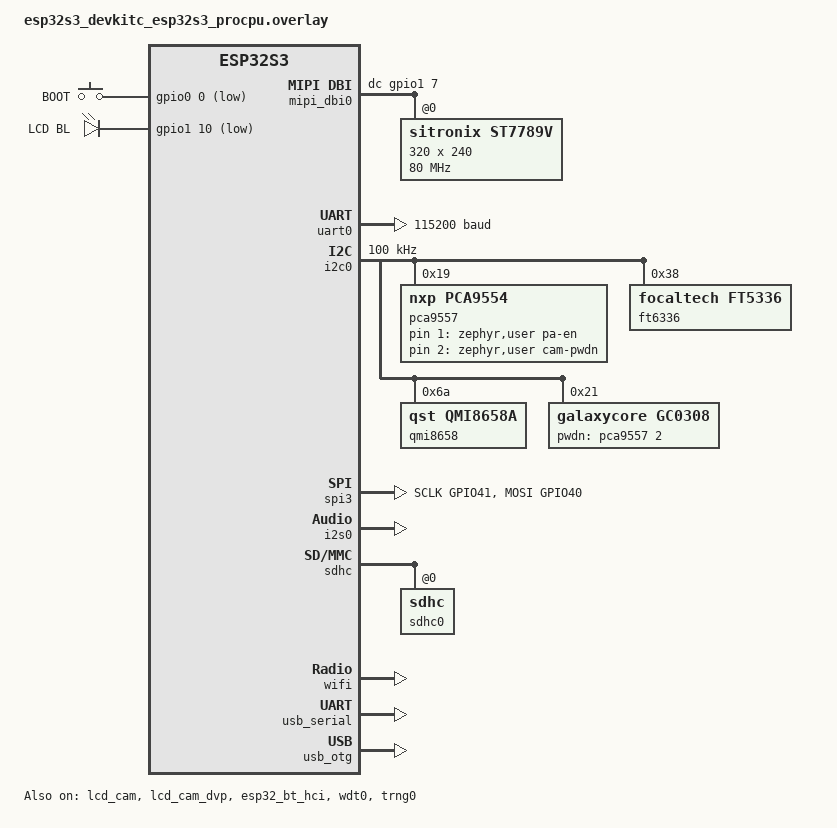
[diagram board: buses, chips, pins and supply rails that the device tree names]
/*
 * 立创·实战派 ESP32-S3 V1.0.1
 * 引脚来源：doc/Netlist_ESP32-S3-V1_0_1_2026-07-22.tel / doc/pinout.md
 *
 * 基座板：esp32s3_devkitc/esp32s3/procpu（overlay 覆盖引脚与外设）
 */

#include <zephyr/dt-bindings/pinctrl/esp32s3-pinctrl.h>
#include <zephyr/dt-bindings/gpio/gpio.h>
#include <zephyr/dt-bindings/pwm/pwm.h>
#include <zephyr/dt-bindings/input/input-event-codes.h>
#include <zephyr/dt-bindings/display/panel.h>
#include <zephyr/dt-bindings/mipi_dbi/mipi_dbi.h>
#include <zephyr/dt-bindings/i2c/i2c.h>

/ {
	chosen {
		zephyr,console = &uart0;
		zephyr,shell-uart = &uart0;
		zephyr,display = &st7789v;
		zephyr,touch = &ft6336;
		zephyr,camera = &lcd_cam_dvp;
		zephyr,sdhc = &sdhc0;
		/* Roles the port binds by NAME, not by node label. The port
		 * used to reach for DT_NODELABEL(qmi8658) / (i2c0) / (i2s0),
		 * which turns the label into a hard interface between the
		 * board and the C: a board whose six-axis part is not a
		 * QMI8658, or whose codec hangs off i2c1, cannot reuse the
		 * port at all -- and the mismatch arrives as an undefined
		 * macro rather than as "this board declared no IMU".
		 *
		 * Declaring the role here is the one line a new board writes.
		 * These three are ASTER's own roles, so they carry our vendor
		 * prefix; `imu0` in aliases below was already there and is
		 * left alone, but binding through it would have made the IMU
		 * work one way and the audio buses another. */
		aster,imu = &qmi8658;
		aster,audio-i2c = &i2c0;
		aster,audio-i2s = &i2s0;
	};

	aliases {
		/delete-property/ sw0;
		sw0 = &btn_boot;
		imu0 = &qmi8658;
		sdhc0 = &sdhc0;
		i2c-0 = &i2c0;
		watchdog0 = &wdt0;
		lcd-bl = &lcd_bl_gpio;
	};

	buttons {
		/delete-node/ button_0;

		btn_boot: button_boot {
			gpios = <&gpio0 0 (GPIO_PULL_UP | GPIO_ACTIVE_LOW)>;
			label = "BOOT";
			zephyr,code = <INPUT_KEY_0>;
		};
	};

	/* LCD 背光 GPIO42：低电平点亮（立创实战派原理图） */
	leds {
		compatible = "gpio-leds";

		lcd_bl_gpio: lcd_bl_gpio {
			gpios = <&gpio1 10 GPIO_ACTIVE_LOW>;
			label = "LCD BL";
		};
	};

	/*
	 * ST7789：SPI3 MOSI=40 SCLK=41，DC=GPIO39，CS=PCA9557.0
	 * RST 与系统 RESET 共用；背光低有效。
	 */
	mipi_dbi0: mipi_dbi {
		compatible = "zephyr,mipi-dbi-spi";
		dc-gpios = <&gpio1 7 GPIO_ACTIVE_HIGH>;
		spi-dev = <&spi3>;
		write-only;
		#address-cells = <1>;
		#size-cells = <0>;

		st7789v: st7789v@0 {
			compatible = "sitronix,st7789v";
			reg = <0>;
			/* ESP32-S3 SPI 主机上限 80 MHz，已顶满，再高只能换并行/QSPI */
			mipi-max-frequency = <DT_FREQ_M(80)>;
			mipi-mode = "MIPI_DBI_MODE_SPI_4WIRE";
			/* Official 06-lcd uses spi_mode = 2 (CPOL=1, CPHA=0). */
			mipi-cpol;
			/* CS rides on the PCA9557 I2C expander (100 kHz):
			 * historically every edge cost an I2C round-trip
			 * (~3.6 ms of CS churn per window). FIXED
			 * 2026-09-08: CS is parked low after reset and
			 * detached from the SPI driver, so window switches
			 * no longer touch it (verified 2026-09-10 by the
			 * ASTER_DISP_TIMING split: write side matches pure
			 * 80 MHz line rate + per-4092B GDMA restart).
			 *
			 * DO NOT add mipi-hold-cs here. Tried on HW
			 * 2026-09-08: SPI_HOLD_ON_CS itself is fine
			 * (17.5 -> 20.3 fps) but this panel's init
			 * sequence needs CS edges to latch SLPOUT/DISPON,
			 * so the glass stays dark while every SPI write
			 * still reports success.
			 *
			 * Official CS recipe (CONFIG_ST7789V_CS_ASSERT_
			 * AFTER_RESET): SW reset still uses CS edges,
			 * then CS is parked low and detached so SPI
			 * never toggles it again (IDF GPIO_NUM_NC).
			 * CONFIG_ST7789V_HOLD_CS_AFTER_INIT remains as
			 * a backup if park-after-reset is off. The
			 * gpio_pca_series also skips unchanged output
			 * writes.
			 *
			 * write_at still batches swapped pixels into
			 * multi-row bands (CONFIG_ASTER_DISP_BOUNCE_KB)
			 * and LVGL only ships dirty regions. */
			/* LANDSCAPE. The ST7789V GRAM is 240RGBx320 (see the
			 * binding); MV (0x20) is what transposes it into a
			 * 320x240 window, and the controller then addresses
			 * that window directly. So the port keeps
			 * CONFIG_ASTER_DISPLAY_ROTATION=0 and retains every fast
			 * path a software rotation would forfeit (band
			 * direct-send, async flip, panel canvas, pipelining).
			 * This window is the half that makes MV legal: a
			 * portrait 240x320 window with MV still set is a
			 * guaranteed RASET overflow, which is why the 0x60/0xA0
			 * runs in verification.md row 24 proved only that MV
			 * was still set -- not that those values are wrong. */
			width = <320>;
			height = <240>;
			x-offset = <0>;
			y-offset = <0>;
			vcom = <0x19>;
			gctrl = <0x35>;
			vrhs = <0x12>;
			vdvs = <0x20>;
			/* MADCTL. With a 320x240 window the landscape choices
			 * are the MV bit ORed with a mirror: 0x20 (MV), 0x60
			 * (MX|MV), 0xA0 (MY|MV), 0xE0 (MX|MY|MV). Two of those
			 * are the true 90/270 rotations, the other two are
			 * their mirror images; which is which is a mounting
			 * fact, so it is settled on glass, not in prose. OR in
			 * 0x08 if red and blue trade places. Verify with
			 * `hw display colorbar` + `hw display fill 0xF800`. */
			mdac = <0x60>;
			/* The panel's OTHER window, which makes this a
			 * runtime choice instead of a second firmware image:
			 * 0x00 is the native 240x320 one (MV=0, no mirror).
			 * The driver derives its 240x320 geometry from the
			 * width/height above -- MV only transposes, so there
			 * is nothing here to keep in sync -- and asserts both
			 * windows at build time. `hw display orient portrait`
			 * switches; the touch map follows the window by
			 * itself (display.c s_touch_maps is indexed by it).
			 *
			 * The pair is not symmetric in cost: landscape is the
			 * one the launcher and the UI presets are laid out
			 * for, and it is what the panel comes up in. This
			 * property is what makes portrait reachable without
			 * a rebuild, not a claim that the two are equivalent. */
			mdac-alt = <0x00>;
			gamma = <0x01>;
			/* v4.4.2 binding 变化：pixel-format 属性删除，
			 * 像素格式改由 Kconfig choice 决定（默认
			 * ST7789V_RGB565）；COLMOD 寄存器值改从 DT 读
			 * （required）。0x55 = RGB_65K|FMT_16bit，与旧
			 * 驱动按 RGB_565 算出的值逐位相同；上游
			 * esp32s3_eye 同值。 */
			colmod = <0x55>;
			lcm = <0x2c>;
			porch-param = [0c 0c 00 33 33];
			cmd2en-param = [5a 69 02 01];
			pwctrl1-param = [a4 a1];
			pvgam-param = [d0 04 0d 11 13 2b 3f 54 4c 18 0d 0b 1f 23];
			nvgam-param = [d0 04 0c 11 13 2c 3f 44 51 2f 1f 1f 20 23];
			ram-param = [00 f0];
			rgb-param = [cd 08 14];
		};
	};

	lvgl_pointer {
		compatible = "zephyr,lvgl-pointer-input";
		input = <&ft6336>;
	};

	zephyr,user {
		/* PCA9557 控制脚：**按名字取，不按下标**。
		 *
		 * 这里原本是一个三元素 io-gpios 数组，C 侧用下标 1 和 2 去取
		 * PA_EN / DVP_PWDN（下标 0 是 LCD_CS，声明了但没有任何代码读
		 * 它）。下标是位置约定 —— 板子换一下书写顺序，音频就会去拉
		 * 摄像头的掉电脚：没有编译错误、没有日志，只是两件事同时坏，
		 * 而查的时候两边看起来都"没错"。具名之后这个错误写不出来。
		 *
		 * C 侧用 GPIO_DT_SPEC_GET_OR(..., {0}) 取：引脚缺失是「这块板
		 * 没接」这一合法情形，交给既有的 gpio_is_ready_dt() 判空就够
		 * 了。具名要解决的是「取错脚」，不是「没接脚」，别把后者也变
		 * 成编译错误。 */
		pa-en-gpios = <&pca9557 1 GPIO_ACTIVE_HIGH>;
		cam-pwdn-gpios = <&pca9557 2 GPIO_ACTIVE_HIGH>;
	};
};

/* N16R8：16MB Flash + 8MB Octal PSRAM
 * reg 已给出 flash0 的大小；flash0 是 soc-nv-flash 叶子节点、无子节点，
 * 不需要 ranges（v4.4.2 起 flash@0 的 #address-cells=2，旧的 3-cell ranges
 * 会触发 dtc "not evenly divisible" 报错）。
 */
&flash0 {
	reg = <0x0 DT_SIZE_M(16)>;
};

&psram0 {
	size = <DT_SIZE_M(8)>;
};

&uart0 {
	status = "okay";
	current-speed = <115200>;
};

&gpio0 {
	status = "okay";
};

&gpio1 {
	status = "okay";
};

&pinctrl {
	i2c0_default: i2c0_default {
		group1 {
			pinmux = <I2C0_SDA_GPIO1>,
				 <I2C0_SCL_GPIO2>;
			bias-pull-up;
			drive-open-drain;
			output-high;
		};
	};

	/* LCD SPI3：仅 MOSI + SCLK（无 MISO），与立创例程一致 */
	spim3_lcd_default: spim3_lcd_default {
		group1 {
			pinmux = <SPIM3_SCLK_GPIO41>;
		};

		group2 {
			pinmux = <SPIM3_MOSI_GPIO40>;
			output-low;
		};
	};

	/* TF：SDMMC 1-bit — CLK=47 CMD=48 DAT0=21 */
	sdhc0_default: sdhc0_default {
		group1 {
			pinmux = <SDHC0_CLKOUT_GPIO47>,
				 <SDHC0_CMD_GPIO48>,
				 <SDHC0_DATA0_GPIO21>;
			bias-pull-up;
			output-high;
		};
	};

	/*
	 * GC0308 DVP（立创实战派）：
	 * XCLK=5 PCLK=7 VSYNC=3 HREF=46
	 * D0..D7 = 16,18,8,17,15,6,4,9
	 */
	lcd_cam_default: lcd_cam_default {
		group1 {
			pinmux = <LCD_CAM_CAM_CLK_GPIO5>;
			output-enable;
		};

		group2 {
			pinmux = <LCD_CAM_V_SYNC_CAM_GPIO3>,
				 <LCD_CAM_H_ENABLE_CAM_GPIO46>,
				 <LCD_CAM_CAM_PCLK_GPIO7>,
				 <LCD_CAM_DATA_IN0_GPIO16>,
				 <LCD_CAM_DATA_IN1_GPIO18>,
				 <LCD_CAM_DATA_IN2_GPIO8>,
				 <LCD_CAM_DATA_IN3_GPIO17>,
				 <LCD_CAM_DATA_IN4_GPIO15>,
				 <LCD_CAM_DATA_IN5_GPIO6>,
				 <LCD_CAM_DATA_IN6_GPIO4>,
				 <LCD_CAM_DATA_IN7_GPIO9>;
			input-enable;
			bias-disable;
		};
	};

	/*
	 * ES8311 (DAC) + ES7210 (ADC) 共用 I2S0（立创实战派）：
	 * MCLK=38 BCLK=14 WS=13 DOUT=45 DIN=12
	 *
	 * BCLK/WS 必须走 I2S0_O_*（TX 时钟）。录音时平台层会同时跑 TX
	 * 静音块，否则 RX-only 不驱动这些脚，ADC 采到全零。
	 */
	i2s0_default: i2s0_default {
		group1 {
			pinmux = <I2S0_MCLK_GPIO38>,
				 <I2S0_O_BCK_GPIO14>,
				 <I2S0_O_WS_GPIO13>,
				 <I2S0_O_SD_GPIO45>;
			output-enable;
		};

		group2 {
			pinmux = <I2S0_I_SD_GPIO12>;
			input-enable;
		};
	};
};

&i2c0 {
	status = "okay";
	/* 100 kHz：GC0308 SCCB 在 400 kHz 上会探测失败 */
	clock-frequency = <I2C_BITRATE_STANDARD>;
	pinctrl-0 = <&i2c0_default>;
	pinctrl-names = "default";

	pca9557: pca9557@19 {
		compatible = "nxp,pca9554";
		reg = <0x19>;
		gpio-controller;
		#gpio-cells = <2>;
		ngpios = <8>;
	};

	/*
	 * NEUTRAL on purpose -- no swapped-x-y, no inverted-*, no screen-*.
	 *
	 * The calibration lives in firmware/platform/esp32s3/display.c now, as
	 * a table row per display window (see s_touch_maps). Two reasons, both
	 * about adding hardware rather than about this board:
	 *
	 *  - A board's touch calibration is a property of how ITS panel is
	 *    bonded. Expressing it through Zephyr's properties means every new
	 *    board has to re-derive their quirks, and those quirks are real:
	 *    input_touch.c applies inverted-* to the PRE-swap value, and the
	 *    screen-* / inverted-* pairing __ASSERT is an equality rather than
	 *    an implication, so a stale inherited pair satisfies it just as
	 *    well as a correct one (that is exactly how this file's portrait
	 *    preset broke once -- see the portrait overlay's note). A row in a
	 *    table has one order, stated, and cannot be half-inherited.
	 *
	 *  - The window is not known here. It is a build-time property today,
	 *    but the point of the table is that it is indexed BY the window, so
	 *    the day the window becomes settable (S4) the calibration follows it
	 *    with no devicetree delta at all.
	 *
	 * What is left here is only what the devicetree can know: the part and
	 * its address. Anything below that belongs to the port.
	 *
	 * The record of HOW landscape's row was arrived at, since a table row
	 * carries no argument: the driver hands over (col, row) =
	 * (REG_P1_Y*, REG_P1_X*), a 【transpose】 (det -1), while the display
	 * uses mdac=0x60 (MX|MV, det +1), a 【true rotation】 -- so the two
	 * necessarily differ by one mirror, on exactly one axis. Which axis is
	 * the digitizer's bonding and cannot be derived, only measured.
	 * Glass, 2026-09-22: Y is the mirrored one, established by gesture
	 * bands -- a physical top-edge drag must open the panel and a bottom
	 * swipe must exit; a wrong axis swaps those two, which an X-mirror
	 * cannot explain.
	 */
	ft6336: ft6336@38 {
		compatible = "focaltech,ft5336";
		reg = <0x38>;
		status = "okay";
	};

	qmi8658: qmi8658@6a {
		compatible = "qst,qmi8658a";
		reg = <0x6a>;
		status = "okay";
		accel-fs = <4>;
		gyro-fs = <512>;
	};

	/* GC0308：7-bit 地址 0x21，PWDN=PCA9557.2（高=关机） */
	gc0308: gc0308@21 {
		compatible = "galaxycore,gc0308";
		reg = <0x21>;
		status = "okay";
		pwdn-gpios = <&pca9557 2 GPIO_ACTIVE_HIGH>;
	};
};

&spi2 {
	status = "disabled";
};

&spi3 {
	#address-cells = <1>;
	#size-cells = <0>;
	status = "okay";
	pinctrl-0 = <&spim3_lcd_default>;
	pinctrl-names = "default";
	/* CS = PCA9557 IO0，低有效。注意：CS 挂在 100 kHz I2C 扩展器上。
	 * 不要在面板节点加 mipi-hold-cs。官方时序由
	 * CONFIG_ST7789V_CS_ASSERT_AFTER_RESET 在复位后把 CS 拉低并摘掉。 */
	cs-gpios = <&pca9557 0 GPIO_ACTIVE_LOW>;
	/* GDMA 直读 PSRAM 已判死（CPU/GDMA 并发抢 MSPI 必花屏，见板 conf
	 * 注释与 docs/verification.md 2026-09-10）。dma-enabled 保留：
	 * staging 走 Zephyr 上游驱动自带的 CPU -> k_malloc 4KB bounce ->
	 * GDMA 路径，无需改 west 树。 */
	dma-enabled;
	dmas = <&dma 0>, <&dma 1>;
	dma-names = "rx", "tx";
};

&i2s0 {
	status = "okay";
	pinctrl-0 = <&i2s0_default>;
	pinctrl-names = "default";
};

&i2s1 {
	status = "disabled";
};

&ledc0 {
	status = "disabled";
};

&sdhc {
	status = "okay";

	sdhc0: sdhc@0 {
		status = "okay";
		pinctrl-0 = <&sdhc0_default>;
		pinctrl-names = "default";
		max-bus-freq = <DT_FREQ_M(10)>;
		bus-width = <1>;

		mmc {
			compatible = "zephyr,sdmmc-disk";
			disk-name = "SD";
			status = "okay";
		};
	};
};

&dma {
	status = "okay";
};

&lcd_cam {
	status = "okay";
	pinctrl-0 = <&lcd_cam_default>;
	pinctrl-names = "default";
};

&lcd_cam_dvp {
	status = "okay";
	/* 8MHz XCLK + GC0308 PCLK/2：传感器时钟稳定，DVP 带宽 4MB/s */
	cam-clk = <8000000>;
	source = <&gc0308>;
	data-width = <8>;
};

&i2c1 {
	status = "disabled";
};

&uart1 {
	status = "disabled";
};

&twai {
	status = "disabled";
};

&adc0 {
	status = "disabled";
};

&wifi {
	status = "okay";
};

&esp32_bt_hci {
	status = "okay";
};

/* Native USB-CDC (Serial-JTAG) on the same Type-C port: used by the ASTER
 * file-transfer service (services/aster_file_svc.c) to ship .ast packages to
 * the SD card without a card reader. Console/shell stays on uart0/CH340. */
&usb_serial {
	status = "okay";
};

zephyr_udc0: &usb_otg {
	status = "okay";
};

&wdt0 {
	status = "okay";
};

&trng0 {
	status = "okay";
};
